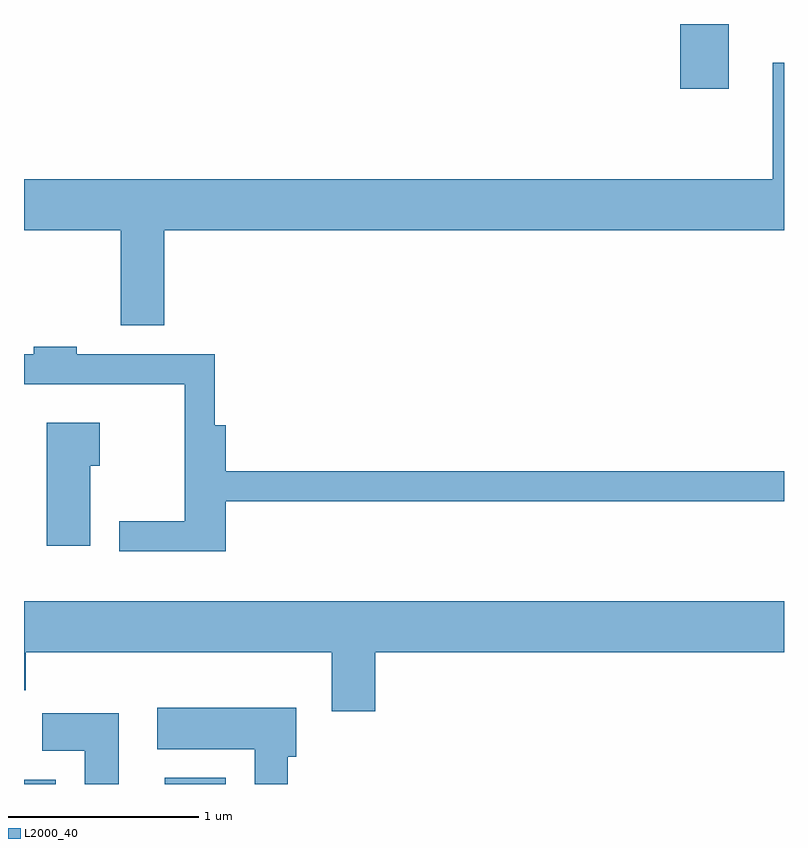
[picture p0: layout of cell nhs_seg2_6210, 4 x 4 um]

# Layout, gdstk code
import gdstk
lib = gdstk.Library(unit=1e-6, precision=1e-09)
def R(c, l, rs):  # rectangles x0, y0, x1, y1
    for r in rs: c.add(gdstk.rectangle(r[:2], r[2:], *l))
def P(c, l, *ps):  # polygons
    for p in ps: c.add(gdstk.Polygon(p, *l))
L2000_40 = (2000, 40)

nhs_seg2_6210 = lib.new_cell('nhs_seg2_6210')
R(nhs_seg2_6210, L2000_40, [(367.611,1089.802,367.779,1089.824), (368.351,1089.802,368.674,1089.834), (371.066,1093.461,371.319,1093.802)])
P(nhs_seg2_6210, L2000_40, [(368.349,1092.716),(371.611,1092.716),(371.611,1093.599),(371.551,1093.599),(371.551,1092.984),(367.611,1092.984),(367.611,1092.716),(368.121,1092.716),(368.121,1092.216),(368.349,1092.216)],
  [(368.674,1091.291),(371.611,1091.291),(371.611,1091.449),(368.674,1091.449),(368.674,1091.689),(368.614,1091.689),(368.614,1092.064),(367.889,1092.064),(367.889,1092.104),(367.661,1092.104),(367.661,1092.064),(367.611,1092.064),(367.611,1091.906),(368.456,1091.906),(368.456,1091.184),(368.113,1091.184),(368.113,1091.026),(368.674,1091.026)],
  [(367.959,1091.476),(368.009,1091.476),(368.009,1091.704),(367.731,1091.704),(367.731,1091.056),(367.959,1091.056)],
  [(369.459,1090.496),(371.611,1090.496),(371.611,1090.764),(367.611,1090.764),(367.611,1090.296),(367.619,1090.296),(367.619,1090.496),(369.231,1090.496),(369.231,1090.186),(369.459,1090.186)],
  [(368.999,1089.946),(369.044,1089.946),(369.044,1090.204),(368.311,1090.204),(368.311,1089.986),(368.826,1089.986),(368.826,1089.802),(368.999,1089.802)],
  [(368.109,1090.174),(367.706,1090.174),(367.706,1089.976),(367.931,1089.976),(367.931,1089.802),(368.109,1089.802)])

lib.write_gds('nhs_seg2_6210.gds')
